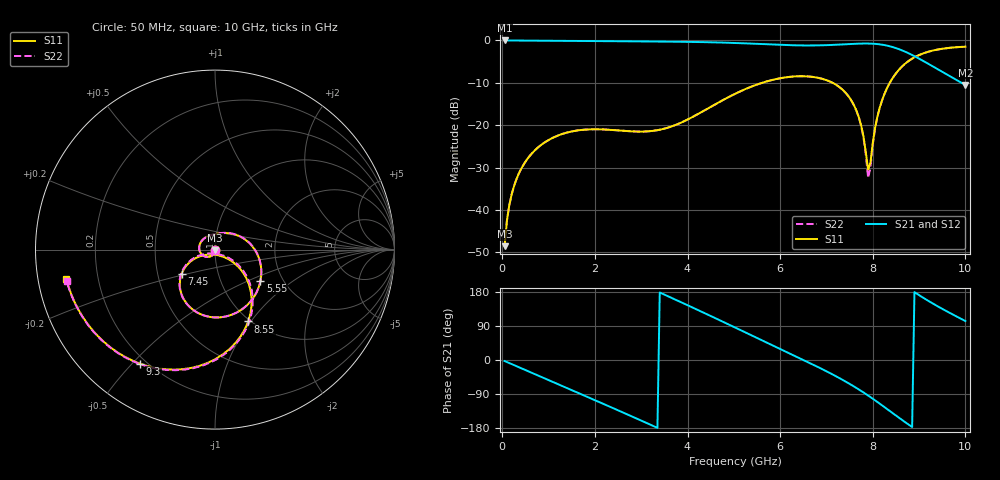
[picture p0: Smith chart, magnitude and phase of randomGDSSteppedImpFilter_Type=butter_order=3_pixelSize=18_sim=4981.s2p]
! freq	dB(S11)	phase(S11)	dB(S12)	phase(S12)
!  dB(S21)	phase(S21)	dB(S22)	phase(S22)
!S-par simulation data
#  GHz  S  DB  R 50
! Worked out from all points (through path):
!   200 points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, 50 MHz to 10 GHz, reference 50 ohm
!   highest |S21| = -0.01 dB at 50 MHz (marker M1); lowest = -10.5 dB at 10 GHz (marker M2)
!   group delay of S21, straight-line fit = 169 ps
!   lowest |S11| = -48.6 dB at 50 MHz (marker M3), VSWR 1.01, Z = 50 - j0.373 ohm
!   |S11| at or under -10 dB: start of sweep to 5.611 GHz; 7.133 GHz to 8.368 GHz (1.236 GHz wide, 15.9 % of centre)
!   |S22| runs from -48.6 to -1.5 dB; largest |S21 - S12| = 0
!   S11 on the Smith chart (normalised r, x): 50 MHz: 1.00, -0.01; 5.55 GHz: 1.54, -0.60; 7.45 GHz: 0.67, -0.19; 8.55 GHz: 0.98, -0.97; 9.3 GHz: 0.18, -0.53; 10 GHz: 0.09, -0.10
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0.05  -48.55 -92.3  -0.01 -2.7  -0.01 -2.7  -48.55 -92.3
0.1  -42.50 -94.7  -0.01 -5.4  -0.01 -5.4  -42.50 -94.6
0.2  -36.43 -99.9  -0.02 -10.7  -0.02 -10.7  -36.43 -99.8
0.5  -28.61 -116.5  -0.04 -26.6  -0.04 -26.6  -28.61 -116.3
1.15  -22.67 -152.1  -0.09 -60.9  -0.09 -60.9  -22.67 -151.6
1.75  -21.08 175.4  -0.14 -92.7  -0.14 -92.7  -21.08 176.3
2.65  -21.36 126.2  -0.20 -140.9  -0.20 -140.9  -21.36 127.9
3.4  -21.07 84.7  -0.26 178.1  -0.26 178.1  -21.08 86.6
4.35  -16.61 32.5  -0.40 124.8  -0.40 124.8  -16.61 33.5
5.05  -12.47 -6.6  -0.61 84.4  -0.61 84.4  -12.48 -6.2
5.55  -10.22 -34.9  -0.83 55.3  -0.83 55.3  -10.22 -34.8
6.15  -8.67 -68.8  -1.10 20.6  -1.10 20.6  -8.67 -68.9
6.7  -8.60 -100.0  -1.19 -11.5  -1.19 -11.5  -8.61 -100.3
7.45  -12.82 -144.2  -0.88 -59.4  -0.88 -59.4  -12.84 -145.3
7.75  -20.12 -156.4  -0.74 -81.7  -0.74 -81.7  -20.26 -159.7
7.9  -30.50 -112.0  -0.73 -93.8  -0.73 -93.8  -32.44 -116.1
8.1  -17.97 -34.8  -0.86 -110.8  -0.86 -110.8  -18.05 -31.6
8.35  -10.35 -49.2  -1.33 -133.0  -1.33 -133.0  -10.36 -47.6
8.55  -7.11 -65.2  -2.00 -151.0  -2.00 -151.0  -7.11 -64.1
8.95  -3.70 -97.5  -4.00 175.1  -4.00 175.1  -3.70 -96.7
9.3  -2.38 -123.2  -6.15 148.8  -6.15 148.8  -2.38 -122.4
10  -1.47 -168.9  -10.53 102.8  -10.53 102.8  -1.47 -168.0
